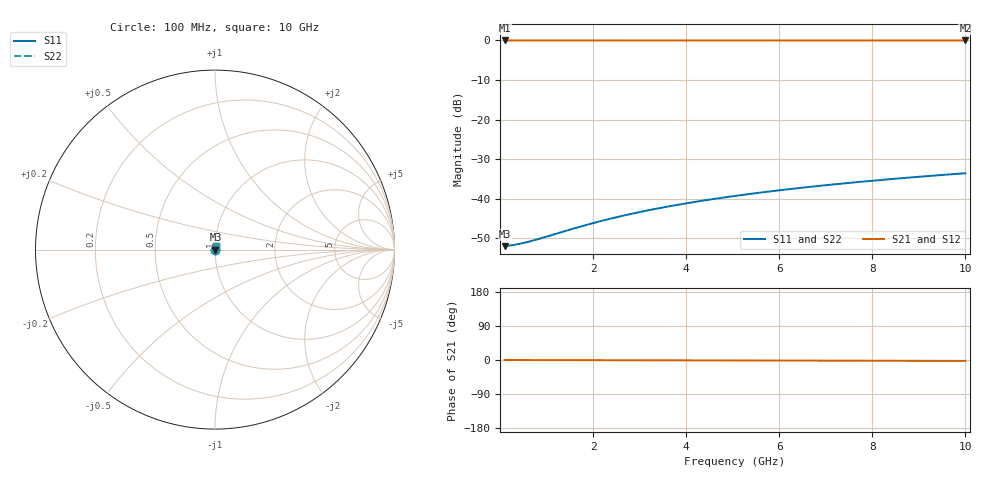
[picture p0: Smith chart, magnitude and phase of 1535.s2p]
# Hz S RI R 50.00
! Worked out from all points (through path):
!   100 points, 100 MHz to 10 GHz, reference 50 ohm
!   highest |S21| = -0.02 dB at 100 MHz (marker M1); lowest = 0.0 dB at 10 GHz (marker M2)
!   lowest |S11| = -52.0 dB at 100 MHz (marker M3), VSWR 1.01, Z = 50.3 + j0.0208 ohm
!   |S11| at or under -10 dB: start of sweep to end of sweep
!   |S22| runs from -52.0 to -33.5 dB; largest |S21 - S12| = 0
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1e8  0.00252 0.000207  0.9975 -0.000421  0.9975 -0.000421  0.00252 0.000207
3e8  0.00254 0.000622  0.9975 -0.00126  0.9975 -0.00126  0.00254 0.000622
4e8  0.00255 0.00083  0.9974 -0.00169  0.9974 -0.00169  0.00255 0.00083
6e8  0.00257 0.00124  0.9974 -0.00253  0.9974 -0.00253  0.00257 0.00124
9e8  0.00259 0.00187  0.9974 -0.00379  0.9974 -0.00379  0.00259 0.00187
1.5e9  0.00263 0.00311  0.9974 -0.00632  0.9974 -0.00632  0.00263 0.00311
1.8e9  0.00265 0.00373  0.9973 -0.00758  0.9973 -0.00758  0.00265 0.00373
2.2e9  0.00268 0.00456  0.9973 -0.00927  0.9973 -0.00927  0.00268 0.00456
2.6e9  0.00271 0.00539  0.9973 -0.011  0.9973 -0.011  0.00271 0.00539
3e9  0.00274 0.00622  0.9972 -0.0126  0.9972 -0.0126  0.00274 0.00622
3.4e9  0.00277 0.00705  0.9972 -0.0143  0.9972 -0.0143  0.00277 0.00705
3.8e9  0.0028 0.00788  0.9972 -0.016  0.9972 -0.016  0.0028 0.00788
4.2e9  0.00284 0.00871  0.9971 -0.0177  0.9971 -0.0177  0.00284 0.00871
4.6e9  0.00288 0.00954  0.9971 -0.0194  0.9971 -0.0194  0.00288 0.00954
5.1e9  0.00293 0.0106  0.997 -0.0215  0.997 -0.0215  0.00293 0.0106
5.5e9  0.00297 0.0114  0.9969 -0.0232  0.9969 -0.0232  0.00297 0.0114
5.9e9  0.00302 0.0122  0.9969 -0.0249  0.9969 -0.0249  0.00302 0.0122
6.7e9  0.00312 0.0139  0.9968 -0.0282  0.9968 -0.0282  0.00312 0.0139
7.5e9  0.00324 0.0155  0.9966 -0.0316  0.9966 -0.0316  0.00324 0.0155
8.4e9  0.00338 0.0174  0.9964 -0.0354  0.9964 -0.0354  0.00338 0.0174
9.2e9  0.00352 0.0191  0.9963 -0.0387  0.9963 -0.0387  0.00352 0.0191
1e10  0.00366 0.0207  0.9961 -0.0421  0.9961 -0.0421  0.00366 0.0207
